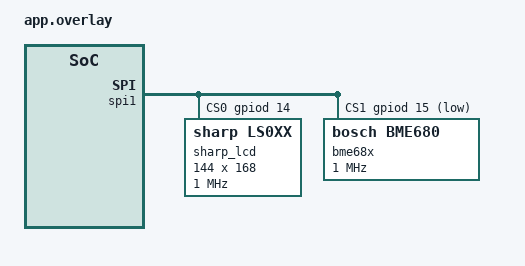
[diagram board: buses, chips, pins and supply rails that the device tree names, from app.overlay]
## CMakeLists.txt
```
cmake_minimum_required(VERSION 3.20.0)

find_package(Zephyr REQUIRED HINTS $ENV{ZEPHYR_BASE})
project(air_quality)

target_sources(app PRIVATE src/main.c)
```

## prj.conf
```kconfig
# Sharp memory display and BME68x sensor over SPI (GPIO is needed for the chip selects)
CONFIG_GPIO=y
CONFIG_SPI=y
CONFIG_DISPLAY=y
CONFIG_SENSOR=y

# Character framebuffer with built-in fonts; its buffer is allocated from the heap
CONFIG_CHARACTER_FRAMEBUFFER=y
CONFIG_HEAP_MEM_POOL_SIZE=8192

# Allow %f in snprintf to print the sensor values
CONFIG_REQUIRES_FLOAT_PRINTF=y
```

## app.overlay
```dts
/*
 * Adafruit SHARP Memory Display 1.3" (LS013B7DH05) and BME68x sensor on SPI1
 *
 *   SCLK -> D13 (PA5)  -> display CLK, sensor SCL
 *   MOSI -> D11 (PA7)  -> display DI,  sensor SDA
 *   MISO -> D12 (PA6)  -> sensor SDO (the display has no MISO)
 *   CS   -> D10 (PD14) -> display CS
 *   CS   -> D9  (PD15) -> sensor CS
 */

/ {
	chosen {
		/* Use this display in main.c */
		zephyr,display = &sharp_lcd;
	};
};

&spi1 {
	status = "okay";
	/* One chip select per device: the display's is active-high, the sensor's active-low */
	cs-gpios = <&gpiod 14 GPIO_ACTIVE_HIGH>,
		   <&gpiod 15 GPIO_ACTIVE_LOW>;

	sharp_lcd: ls0xx@0 {
		compatible = "sharp,ls0xx";       /* Use the Sharp memory display driver */
		reg = <0>;                        /* First chip select of SPI1 */
		spi-max-frequency = <1000000>;    /* SPI speed: 1 MHz */
		spi-cs-setup-delay-ns = <3000>;   /* Wait 3 µs after CS before sending */
		spi-cs-hold-delay-ns = <1000>;    /* Wait 1 µs after sending before CS off */
		width = <144>;                    /* Screen width in pixels */
		height = <168>;                   /* Screen height in pixels */
		serial-vcom-inversion;            /* No EXTCOMIN wire: toggle VCOM over SPI */
	};

	bme68x: bme680@1 {
		compatible = "bosch,bme680";      /* Use the BME680 driver (also works for the BME688) */
		reg = <1>;                        /* Second chip select of SPI1 */
		spi-max-frequency = <1000000>;    /* SPI speed: 1 MHz */
	};
};
```

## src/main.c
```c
#include <zephyr/kernel.h>
#include <zephyr/device.h>
#include <zephyr/display/cfb.h>
#include <zephyr/drivers/sensor.h>
#include <stdio.h>

int main(void)
{
	const struct device *display = DEVICE_DT_GET(DT_CHOSEN(zephyr_display));
	const struct device *sensor = DEVICE_DT_GET(DT_NODELABEL(bme68x));
	struct sensor_value temp, humidity, pressure, gas;
	char line[20];

	if (!device_is_ready(display)) {
		printk("Error: the display is not ready\n");
		return 0;
	}

	if (!device_is_ready(sensor)) {
		printk("Error: the sensor is not ready\n");
		return 0;
	}

	if (cfb_framebuffer_init(display) != 0) {
		printk("Error: could not prepare the drawing area\n");
		return 0;
	}

	cfb_framebuffer_set_font(display, 0);

	while (1) {
		/* Take a new measurement, then read each value from it */
		if (sensor_sample_fetch(sensor) != 0) {
			printk("Error: could not read the sensor\n");
			k_sleep(K_SECONDS(2));
			continue;
		}

		sensor_channel_get(sensor, SENSOR_CHAN_AMBIENT_TEMP, &temp);
		sensor_channel_get(sensor, SENSOR_CHAN_HUMIDITY, &humidity);
		sensor_channel_get(sensor, SENSOR_CHAN_PRESS, &pressure);
		sensor_channel_get(sensor, SENSOR_CHAN_GAS_RES, &gas);

		cfb_framebuffer_clear(display, false);
		cfb_draw_text(display, "Air Quality", 17, 20);

		/* Temperature in degrees Celsius */
		snprintf(line, sizeof(line), "T: %.2f C", sensor_value_to_double(&temp));
		cfb_draw_text(display, line, 2, 52);

		/* Relative humidity in percent */
		snprintf(line, sizeof(line), "H: %.2f %%", sensor_value_to_double(&humidity));
		cfb_draw_text(display, line, 2, 76);

		/* Air pressure in kilopascals: about 101 kPa at sea level */
		snprintf(line, sizeof(line), "P: %.2f kPa", sensor_value_to_double(&pressure));
		cfb_draw_text(display, line, 2, 100);

		/* Gas resistance in ohms: higher means cleaner air */
		snprintf(line, sizeof(line), "G: %d Ohm", gas.val1);
		cfb_draw_text(display, line, 2, 124);

		cfb_framebuffer_finalize(display);

		/* Update the screen every 2 seconds */
		k_sleep(K_SECONDS(2));
	}

	return 0;
}
```
